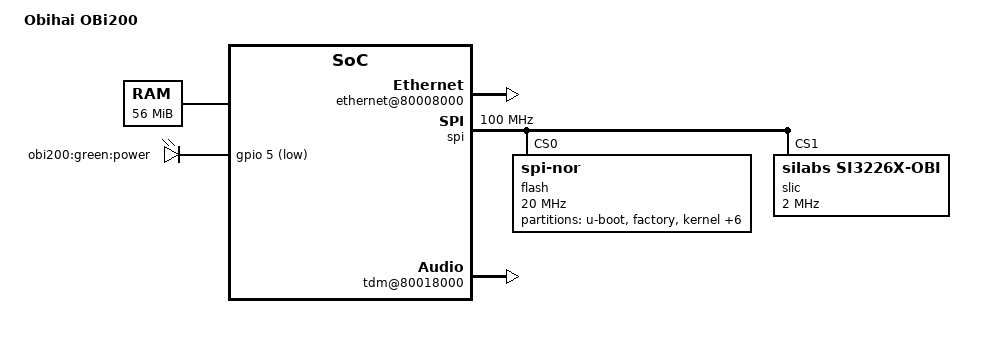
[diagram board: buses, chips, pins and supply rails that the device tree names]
// SPDX-License-Identifier: GPL-2.0
/*
 * Obihai OBi200: Marvell 88E7251 ("FFxAV"), ARM926EJ-S, 64 MiB.
 *
 * Memory as the board's own kernel has it (56 MiB); the top 8 MiB stay
 * outside it: the RAM-boot loader puts the kernel there (fw/obi, kjump at
 * 0x03800000, up to 6 MiB), the RAM log of pstore is at 0x03e00000 and the
 * low-level debug output (64 KiB, the whole log with earlyprintk) at
 * 0x03f20000, so
 * that what a kernel wrote survives
 * the watchdog's reset and can be read by the next one.
 *
 * Written for the v90d project.
 */
/dts-v1/;

/ {
	model = "Obihai OBi200";
	compatible = "obihai,obi200", "marvell,ffxav";
	#address-cells = <1>;
	#size-cells = <1>;
	interrupt-parent = <&intc>;

	chosen {
		bootargs = "panic=5";
	};

	memory@0 {
		device_type = "memory";
		reg = <0x00000000 0x03800000>;
	};

	reserved-memory {
		#address-cells = <1>;
		#size-cells = <1>;
		ranges;

		ramoops@3e00000 {
			compatible = "ramoops";
			reg = <0x03e00000 0x100000>;
			record-size = <0x20000>;
			console-size = <0x80000>;
		};

		/*
		 * Where the stock kernel's audio DMA rings and buffers live.
		 * This kernel is always started from the stock one (fw/obi:
		 * kjump), whose rings keep running through the jump; the
		 * telephony driver takes them over in place (ffxav_tel.c).
		 */
		stock_audio_dma: stock-audio-dma@3000000 {
			reg = <0x03000000 0x200000>;
			no-map;
		};
	};

	cpus {
		#address-cells = <1>;
		#size-cells = <0>;

		cpu@0 {
			device_type = "cpu";
			compatible = "arm,arm926ej-s";
			reg = <0>;
		};
	};

	soc {
		compatible = "simple-bus";
		#address-cells = <1>;
		#size-cells = <1>;
		ranges;

		intc: interrupt-controller@80003000 {
			compatible = "marvell,ffxav-intc";
			reg = <0x80003000 0x10>;
			interrupt-controller;
			#interrupt-cells = <1>;
		};

		timer@8000d000 {
			compatible = "marvell,ffxav-timer";
			reg = <0x8000d000 0x100>, <0x8000d800 0x20>;
			interrupts = <5>;
		};

		/*
		 * The Ethernet controller and the embedded switch it is wired
		 * to (its port 5); the LAN jack is on the switch. The unit's
		 * MAC address is in the flash's factory block (after "OB100
		 * UNIT INFO" at 0x40000, at 0x40100): give it with
		 * ffxav_eth.mac= on the command line, or add
		 * local-mac-address here. The SRAM at 0x88000000 can hold the
		 * descriptor rings (ffxav_eth.sram_rings=1), as on the board's
		 * own kernel.
		 */
		ethernet@80008000 {
			compatible = "marvell,ffxav-eth";
			reg = <0x80008000 0x1000>, <0x8000e000 0x1000>,
			      <0x88000000 0x2000>;
			reg-names = "mac", "switch", "sram";
			interrupts = <9>;
			marvell,tx-header = <0x002f>;
			marvell,cpu-port = <5>;
		};

		/*
		 * SPI, GPIO, watchdog and LEDs: kernel/SPI-LED-WDT-NOTES.md.
		 *
		 * GPIO: 16 pins (laid out like a DesignWare APB GPIO block,
		 * "snps,dw-apb-gpio" would drive it too), driven by
		 * drivers/gpio/gpio-ffxav.c. ONE node for this block: the
		 * telephony driver's SLIC reset (pin 0) and interrupt (pin 2)
		 * and the power LED (pin 5, low = on) all use &gpio. Its
		 * interrupt (IRQ 12, chained) is not described. Bit 9 of the
		 * system register 0x8000f0dc (cleared by both the board's LED
		 * and telephony modules before they use pins 0, 2 and 5: the
		 * pins' function) is cleared by the telephony driver; nobody
		 * must claim (request) that register's range.
		 */
		gpio: gpio@8000c000 {
			compatible = "marvell,ffxav-gpio";
			reg = <0x8000c000 0x80>;
			gpio-controller;
			#gpio-cells = <2>;
		};

		/*
		 * The SPI controller (DesignWare APB SSI, polled; IRQ 23 is
		 * not used). The second region is the system register whose
		 * bits 27 (cleared) and 26 (set) the board's driver writes
		 * when it sets a device up. Chip selects are the controller's
		 * own, reg = the bit in its SER register: 0 = the flash (the
		 * board's kernel calls it chip select 1), 1 = the SLIC (its
		 * chip select 2).
		 */
		spi: spi@8000c800 {
			compatible = "marvell,ffxav-spi";
			reg = <0x8000c800 0x100>, <0x8000f0ac 0x4>;
			interrupts = <23>;
			clock-frequency = <100000000>;
			#address-cells = <1>;
			#size-cells = <0>;

			/*
			 * 16 MiB of NOR, 20 MHz asked (16.7 MHz: the
			 * divider is even), mode 3, as in the board's own
			 * board info. U-Boot, the factory block (the MAC at
			 * 0x40100) and the view of the whole flash are
			 * read-only: nothing here can write or erase them.
			 * The other partitions are the board's own table
			 * (spi_flash0); the board's kernel keeps the factory
			 * block inside "u-boot" (0 to 0x50000).
			 */
			flash@0 {
				compatible = "jedec,spi-nor";
				reg = <0>;
				spi-max-frequency = <20000000>;
				spi-cpol;
				spi-cpha;

				partitions {
					compatible = "fixed-partitions";
					#address-cells = <1>;
					#size-cells = <1>;

					partition@0 {
						label = "u-boot";
						reg = <0x000000 0x040000>;
						read-only;
					};

					partition@40000 {
						label = "factory";
						reg = <0x040000 0x010000>;
						read-only;
					};

					partition@50000 {
						label = "kernel";
						reg = <0x050000 0x280000>;
					};

					partition@480000 {
						label = "rootfs";
						reg = <0x480000 0x6c0000>;
					};

					partition@b40000 {
						label = "scratch";
						reg = <0xb40000 0x0c0000>;
					};

					partition@c00000 {
						label = "obi app";
						reg = <0xc00000 0x240000>;
					};

					partition@f00000 {
						label = "bluetooth";
						reg = <0xf00000 0x100000>;
					};

					partition-all@0 {
						label = "flash";
						reg = <0x000000 0x1000000>;
						read-only;
					};

					/*
					 * What the Firmware page writes (obinv:
					 * the firmware header at 0x470000 and the
					 * parts of a firmware file): everything
					 * after U-Boot and the factory block.
					 * obinv itself refuses files whose
					 * recovery images differ from the box's.
					 */
					partition-fw@50000 {
						label = "firmware";
						reg = <0x050000 0xfb0000>;
					};
				};
			};

			/*
			 * The SLIC (Si3226x, both FXS channels; channel 0 is the
			 * jack): SER bit 1, the board's chip select 2, mode 3,
			 * 8-bit words, 2 MHz, as ffxav_mp.ko registers it
			 * ("mp_spi"). Driven by drivers/misc/ffxav_tel.c
			 * (TDM-NOTES.md); its reset line is in the tdm node.
			 */
			slic@1 {
				compatible = "silabs,si3226x-obi";
				reg = <1>;
				spi-max-frequency = <2000000>;
				spi-cpol;
				spi-cpha;
			};
		};

		/*
		 * The audio block's TDM highway (port 0 of 2) and the telephone
		 * devices of the board's telephony module (/dev/fxs0, /dev/fxs1,
		 * /dev/pcm): drivers/misc/ffxav_tel.c, kernel/TDM-NOTES.md.
		 * Regions: the port, the block's global, interrupt and DMA
		 * registers, and the system block (audio clocks at 0xac, pads at
		 * 0xdc; mapped, not claimed). IRQ 24: DMA done and port errors
		 * (IRQ 6, its timer, is not used). The SLIC's reset is GPIO 0,
		 * low holds it; the SLIC itself is the child of the SPI node.
		 */
		tdm@80018000 {
			compatible = "marvell,ffxav-tdm";
			reg = <0x80018000 0x400>, <0x8001b000 0x1000>,
			      <0x8000f000 0x100>;
			reg-names = "port", "global", "sys";
			interrupts = <24>;
			slic-reset-gpios = <&gpio 0 1>;	/* GPIO_ACTIVE_LOW */
			/* the stock's descriptor rings, adopted as they run */
			memory-region = <&stock_audio_dma>;
		};

		/*
		 * The watchdog. The second region is the system register the
		 * board's watchdog module sets to 0xbfffffff (reset routing).
		 * IRQ 3 (its first expiry) is not used.
		 */
		watchdog@8000d800 {
			compatible = "marvell,ffxav-wdt";
			reg = <0x8000d800 0x20>, <0x8000f028 0x4>;
			interrupts = <3>;
		};

		/*
		 * LEDs forced through the LED override register of the switch
		 * PHYs (in the switch window of the Ethernet node; not
		 * requested). Which LED is which is the board's LED module's
		 * table: its LED 1 (the phone) on PHY 2, its LED 2 on PHY 3
		 * (a second phone on the two-port models, it seems), and PHY 4
		 * as the second element of the power LED (the colour is a
		 * guess). Their state is left as found.
		 */
		leds@8000e000 {
			compatible = "marvell,ffxav-phy-leds";
			reg = <0x8000e000 0x380>;
			marvell,led-select = <0x4a4a>;
			#address-cells = <1>;
			#size-cells = <0>;

			led@2 {
				reg = <2>;
				label = "obi200:green:phone";
			};

			led@3 {
				reg = <3>;
				label = "obi200:green:phone-2";
			};

			led@4 {
				reg = <4>;
				label = "obi200:red:power";
			};
		};
	};

	leds {
		compatible = "gpio-leds";

		led-power {
			label = "obi200:green:power";
			gpios = <&gpio 5 1>;	/* GPIO_ACTIVE_LOW */
			linux,default-trigger = "default-on";
		};
	};
};
